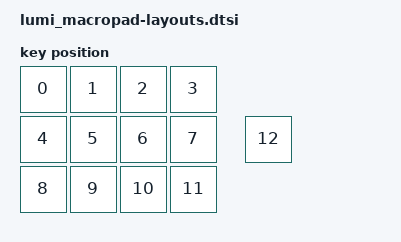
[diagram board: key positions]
#include <physical_layouts.dtsi>

/ {
    lumi_macropad_layout: lumi_macropad_layout {
        compatible = "zmk,physical-layout";
        display-name = "Lumi MacroPad";

        keys
            = <&key_physical_attrs 100 100   0   0 0 0 0>
            , <&key_physical_attrs 100 100 100   0 0 0 0>
            , <&key_physical_attrs 100 100 200   0 0 0 0>
            , <&key_physical_attrs 100 100 300   0 0 0 0>

            , <&key_physical_attrs 100 100   0 100 0 0 0>
            , <&key_physical_attrs 100 100 100 100 0 0 0>
            , <&key_physical_attrs 100 100 200 100 0 0 0>
            , <&key_physical_attrs 100 100 300 100 0 0 0>

            , <&key_physical_attrs 100 100   0 200 0 0 0>
            , <&key_physical_attrs 100 100 100 200 0 0 0>
            , <&key_physical_attrs 100 100 200 200 0 0 0>
            , <&key_physical_attrs 100 100 300 200 0 0 0>

            /* Encoder push */
            , <&key_physical_attrs 100 100 450 100 0 0 0>
            ;
    };
};
